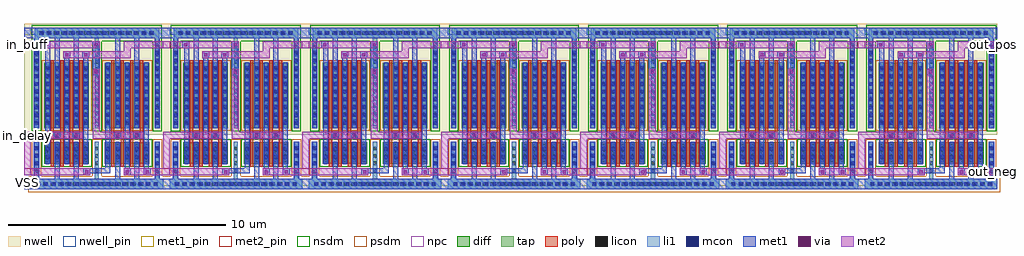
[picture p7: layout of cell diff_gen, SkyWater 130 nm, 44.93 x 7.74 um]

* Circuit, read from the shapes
.subckt diff_gen VDD VSS in_buff in_delay out_neg out_pos
XM1 VSS in_delay in_buff VSS sky130_fd_pr__nfet_01v8 w=1 l=0.15
XM2 delay_unit_2_5/in_1 in_delay VSS VSS sky130_fd_pr__nfet_01v8 w=1 l=0.15 m=3
XM3 VSS in_buff in_delay VSS sky130_fd_pr__nfet_01v8 w=1 l=0.15
XM4 delay_unit_2_5/in_2 in_buff VSS VSS sky130_fd_pr__nfet_01v8 w=1 l=0.15 m=3
XM5 VSS delay_unit_2_5/in_2 delay_unit_2_5/in_1 VSS sky130_fd_pr__nfet_01v8 w=1 l=0.15
XM6 delay_unit_2_4/in_1 delay_unit_2_5/in_2 VSS VSS sky130_fd_pr__nfet_01v8 w=1 l=0.15 m=3
XM7 VSS delay_unit_2_5/in_1 delay_unit_2_5/in_2 VSS sky130_fd_pr__nfet_01v8 w=1 l=0.15
XM8 delay_unit_2_4/in_2 delay_unit_2_5/in_1 VSS VSS sky130_fd_pr__nfet_01v8 w=1 l=0.15 m=3
XM9 VSS delay_unit_2_4/in_2 delay_unit_2_4/in_1 VSS sky130_fd_pr__nfet_01v8 w=1 l=0.15
XM10 delay_unit_2_3/in_1 delay_unit_2_4/in_2 VSS VSS sky130_fd_pr__nfet_01v8 w=1 l=0.15 m=3
XM11 VSS delay_unit_2_4/in_1 delay_unit_2_4/in_2 VSS sky130_fd_pr__nfet_01v8 w=1 l=0.15
XM12 delay_unit_2_3/in_2 delay_unit_2_4/in_1 VSS VSS sky130_fd_pr__nfet_01v8 w=1 l=0.15 m=3
XM13 VSS delay_unit_2_3/in_2 delay_unit_2_3/in_1 VSS sky130_fd_pr__nfet_01v8 w=1 l=0.15
XM14 delay_unit_2_2/in_1 delay_unit_2_3/in_2 VSS VSS sky130_fd_pr__nfet_01v8 w=1 l=0.15 m=3
XM15 VSS delay_unit_2_3/in_1 delay_unit_2_3/in_2 VSS sky130_fd_pr__nfet_01v8 w=1 l=0.15
XM16 delay_unit_2_2/in_2 delay_unit_2_3/in_1 VSS VSS sky130_fd_pr__nfet_01v8 w=1 l=0.15 m=3
XM17 VSS delay_unit_2_2/in_2 delay_unit_2_2/in_1 VSS sky130_fd_pr__nfet_01v8 w=1 l=0.15
XM18 delay_unit_2_1/in_1 delay_unit_2_2/in_2 VSS VSS sky130_fd_pr__nfet_01v8 w=1 l=0.15 m=3
XM19 VSS delay_unit_2_2/in_1 delay_unit_2_2/in_2 VSS sky130_fd_pr__nfet_01v8 w=1 l=0.15
XM20 delay_unit_2_1/in_2 delay_unit_2_2/in_1 VSS VSS sky130_fd_pr__nfet_01v8 w=1 l=0.15 m=3
XM21 VSS delay_unit_2_1/in_2 delay_unit_2_1/in_1 VSS sky130_fd_pr__nfet_01v8 w=1 l=0.15
XM22 delay_unit_2_0/in_1 delay_unit_2_1/in_2 VSS VSS sky130_fd_pr__nfet_01v8 w=1 l=0.15 m=3
XM23 VSS delay_unit_2_1/in_1 delay_unit_2_1/in_2 VSS sky130_fd_pr__nfet_01v8 w=1 l=0.15
XM24 delay_unit_2_0/in_2 delay_unit_2_1/in_1 VSS VSS sky130_fd_pr__nfet_01v8 w=1 l=0.15 m=3
XM25 VSS delay_unit_2_0/in_2 delay_unit_2_0/in_1 VSS sky130_fd_pr__nfet_01v8 w=1 l=0.15
XM26 out_pos delay_unit_2_0/in_2 VSS VSS sky130_fd_pr__nfet_01v8 w=1 l=0.15 m=3
XM27 VSS delay_unit_2_0/in_1 delay_unit_2_0/in_2 VSS sky130_fd_pr__nfet_01v8 w=1 l=0.15
XM28 out_neg delay_unit_2_0/in_1 VSS VSS sky130_fd_pr__nfet_01v8 w=1 l=0.15 m=3
XM29 VDD in_delay in_buff VDD sky130_fd_pr__pfet_01v8 w=3 l=0.15
XM30 delay_unit_2_5/in_1 in_delay VDD VDD sky130_fd_pr__pfet_01v8 w=3 l=0.15 m=3
XM31 VDD in_buff in_delay VDD sky130_fd_pr__pfet_01v8 w=3 l=0.15
XM32 delay_unit_2_5/in_2 in_buff VDD VDD sky130_fd_pr__pfet_01v8 w=3 l=0.15 m=3
XM33 VDD delay_unit_2_5/in_2 delay_unit_2_5/in_1 VDD sky130_fd_pr__pfet_01v8 w=3 l=0.15
XM34 delay_unit_2_4/in_1 delay_unit_2_5/in_2 VDD VDD sky130_fd_pr__pfet_01v8 w=3 l=0.15 m=3
XM35 VDD delay_unit_2_5/in_1 delay_unit_2_5/in_2 VDD sky130_fd_pr__pfet_01v8 w=3 l=0.15
XM36 delay_unit_2_4/in_2 delay_unit_2_5/in_1 VDD VDD sky130_fd_pr__pfet_01v8 w=3 l=0.15 m=3
XM37 VDD delay_unit_2_4/in_2 delay_unit_2_4/in_1 VDD sky130_fd_pr__pfet_01v8 w=3 l=0.15
XM38 delay_unit_2_3/in_1 delay_unit_2_4/in_2 VDD VDD sky130_fd_pr__pfet_01v8 w=3 l=0.15 m=3
XM39 VDD delay_unit_2_4/in_1 delay_unit_2_4/in_2 VDD sky130_fd_pr__pfet_01v8 w=3 l=0.15
XM40 delay_unit_2_3/in_2 delay_unit_2_4/in_1 VDD VDD sky130_fd_pr__pfet_01v8 w=3 l=0.15 m=3
XM41 VDD delay_unit_2_3/in_2 delay_unit_2_3/in_1 VDD sky130_fd_pr__pfet_01v8 w=3 l=0.15
XM42 delay_unit_2_2/in_1 delay_unit_2_3/in_2 VDD VDD sky130_fd_pr__pfet_01v8 w=3 l=0.15 m=3
XM43 VDD delay_unit_2_3/in_1 delay_unit_2_3/in_2 VDD sky130_fd_pr__pfet_01v8 w=3 l=0.15
XM44 delay_unit_2_2/in_2 delay_unit_2_3/in_1 VDD VDD sky130_fd_pr__pfet_01v8 w=3 l=0.15 m=3
XM45 VDD delay_unit_2_2/in_2 delay_unit_2_2/in_1 VDD sky130_fd_pr__pfet_01v8 w=3 l=0.15
XM46 delay_unit_2_1/in_1 delay_unit_2_2/in_2 VDD VDD sky130_fd_pr__pfet_01v8 w=3 l=0.15 m=3
XM47 VDD delay_unit_2_2/in_1 delay_unit_2_2/in_2 VDD sky130_fd_pr__pfet_01v8 w=3 l=0.15
XM48 delay_unit_2_1/in_2 delay_unit_2_2/in_1 VDD VDD sky130_fd_pr__pfet_01v8 w=3 l=0.15 m=3
XM49 VDD delay_unit_2_1/in_2 delay_unit_2_1/in_1 VDD sky130_fd_pr__pfet_01v8 w=3 l=0.15
XM50 delay_unit_2_0/in_1 delay_unit_2_1/in_2 VDD VDD sky130_fd_pr__pfet_01v8 w=3 l=0.15 m=3
XM51 VDD delay_unit_2_1/in_1 delay_unit_2_1/in_2 VDD sky130_fd_pr__pfet_01v8 w=3 l=0.15
XM52 delay_unit_2_0/in_2 delay_unit_2_1/in_1 VDD VDD sky130_fd_pr__pfet_01v8 w=3 l=0.15 m=3
XM53 VDD delay_unit_2_0/in_2 delay_unit_2_0/in_1 VDD sky130_fd_pr__pfet_01v8 w=3 l=0.15
XM54 out_pos delay_unit_2_0/in_2 VDD VDD sky130_fd_pr__pfet_01v8 w=3 l=0.15 m=3
XM55 VDD delay_unit_2_0/in_1 delay_unit_2_0/in_2 VDD sky130_fd_pr__pfet_01v8 w=3 l=0.15
XM56 out_neg delay_unit_2_0/in_1 VDD VDD sky130_fd_pr__pfet_01v8 w=3 l=0.15 m=3
.ends

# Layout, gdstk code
import gdstk
lib = gdstk.Library(unit=1e-6, precision=1e-09)
def R(c, l, rs):  # rectangles x0, y0, x1, y1
    for r in rs: c.add(gdstk.rectangle(r[:2], r[2:], *l))
def A(c, l, x, y, w, h, nx, ny, dx, dy):  # array of equal rectangles
    R(c, l, [(x+i*dx, y+j*dy, x+i*dx+w, y+j*dy+h) for i in range(nx) for j in range(ny)])
nwell_pin = (64, 16)
nwell = (64, 20)
diff = (65, 20)
tap = (65, 44)
poly = (66, 20)
licon = (66, 44)
li1 = (67, 20)
mcon = (67, 44)
met1_pin = (68, 16)
met1 = (68, 20)
via = (68, 44)
met2_pin = (69, 16)
met2 = (69, 20)
nsdm = (93, 44)
psdm = (94, 20)
npc = (95, 20)

sky130_fd_pr__pfet_01v8_ = lib.new_cell('sky130_fd_pr__pfet_01v8_2K9SAN')
R(sky130_fd_pr__pfet_01v8_, nwell, [(-0.545,-1.81,0.545,1.81)])
R(sky130_fd_pr__pfet_01v8_, diff, [(-0.365,-1.5,0.365,1.5)])
R(sky130_fd_pr__pfet_01v8_, poly, [(-0.075,-1.63,0.075,1.63)])
A(sky130_fd_pr__pfet_01v8_, licon, -0.305, -1.275, 0.17, 0.17, 1, 8, 0, 0.34)
A(sky130_fd_pr__pfet_01v8_, licon, 0.135, -1.275, 0.17, 0.17, 1, 8, 0, 0.34)
R(sky130_fd_pr__pfet_01v8_, li1, [(-0.305,-1.52,-0.135,1.52), (0.135,-1.52,0.305,1.52)])
A(sky130_fd_pr__pfet_01v8_, mcon, -0.305, -1.345, 0.17, 0.17, 1, 8, 0, 0.36)
A(sky130_fd_pr__pfet_01v8_, mcon, 0.135, -1.345, 0.17, 0.17, 1, 8, 0, 0.36)
R(sky130_fd_pr__pfet_01v8_, met1, [(-0.335,-1.5,-0.105,1.5), (0.105,-1.5,0.335,1.5)])
R(sky130_fd_pr__pfet_01v8_, psdm, [(-0.49,-1.625,0.49,1.625)])

sky130_fd_pr__nfet_01v8_ = lib.new_cell('sky130_fd_pr__nfet_01v8_6H9P4D')
R(sky130_fd_pr__nfet_01v8_, diff, [(-0.365,-0.5,0.365,0.5)])
R(sky130_fd_pr__nfet_01v8_, poly, [(-0.075,-0.63,0.075,0.63)])
A(sky130_fd_pr__nfet_01v8_, licon, -0.305, -0.425, 0.17, 0.17, 1, 3, 0, 0.34)
A(sky130_fd_pr__nfet_01v8_, licon, 0.135, -0.425, 0.17, 0.17, 1, 3, 0, 0.34)
R(sky130_fd_pr__nfet_01v8_, li1, [(-0.305,-0.52,-0.135,0.52), (0.135,-0.52,0.305,0.52)])
R(sky130_fd_pr__nfet_01v8_, mcon, [(-0.305,-0.265,-0.135,-0.095), (0.135,-0.265,0.305,-0.095), (-0.305,0.095,-0.135,0.265), (0.135,0.095,0.305,0.265)])
R(sky130_fd_pr__nfet_01v8_, met1, [(-0.335,-0.5,-0.105,0.5), (0.105,-0.5,0.335,0.5)])
R(sky130_fd_pr__nfet_01v8_, nsdm, [(-0.49,-0.625,0.49,0.625)])

delay_unit_2 = lib.new_cell('delay_unit_2')
R(delay_unit_2, nwell_pin, [(-1.91,6.4,-1.59,6.72)])
R(delay_unit_2, nwell, [(-2.22,1.8,-1.46,5.42), (-0.99,1.8,-0.4,1.98), (-0.11,1.8,0.48,1.98), (0.95,1.8,1.34,1.94), (1.42,1.8,1.89,5.32), (1.92,1.8,2.29,1.98), (3.59,1.8,4.18,5.42), (0.94,1.94,1.34,4.85), (0.95,4.85,1.34,5.4), (1.35,5.32,1.89,5.4), (2.37,5.32,2.69,5.42), (0.95,5.4,1.89,5.42), (-2.22,5.42,4.18,6.9)])
A(delay_unit_2, tap, -1.74, -0.23, 0.19, 1.71, 3, 1, 2.78, 0)
R(delay_unit_2, tap, [(-1.91,-0.71,4.18,-0.23), (-1.73,2.09,-1.55,6.24), (1.04,2.09,1.23,6.24), (3.82,2.09,4,6.24), (-1.73,6.24,4,6.72)])
A(delay_unit_2, poly, -0.99, 1.59, 0.15, 0.04, 4, 1, 0.44, 0)
A(delay_unit_2, poly, 1.79, 1.59, 0.15, 0.04, 4, 1, 0.44, 0)
A(delay_unit_2, poly, -0.99, 1.93, 0.15, 0.05, 4, 1, 0.44, 0)
A(delay_unit_2, poly, 1.79, 1.93, 0.15, 0.05, 4, 1, 0.44, 0)
R(delay_unit_2, poly, [(-0.99,1.63,-0.4,1.93), (-0.11,1.63,0.48,1.93), (1.79,1.63,2.38,1.93), (2.67,1.63,3.26,1.93)])
A(delay_unit_2, licon, -1.67, -0.555, 0.17, 0.17, 17, 1, 0.34, 0)
A(delay_unit_2, licon, -1.73, 0.06, 0.17, 0.17, 3, 4, 2.78, 0.34)
A(delay_unit_2, licon, -1.725, 2.355, 0.17, 0.17, 3, 11, 2.775, 0.34)
A(delay_unit_2, licon, -1.52, 6.395, 0.17, 0.17, 16, 1, 0.34, 0)
R(delay_unit_2, licon, [(-0.785,1.695,-0.615,1.865), (0.095,1.695,0.265,1.865), (1.995,1.695,2.165,1.865), (2.885,1.695,3.055,1.865)])
A(delay_unit_2, li1, -1.74, -0.23, 0.19, 1.71, 3, 1, 2.78, 0)
R(delay_unit_2, li1, [(-1.91,-0.71,4.18,-0.23), (-0.87,1.69,-0.53,1.87), (0.01,1.69,0.35,1.87), (1.91,1.69,2.25,1.87), (2.8,1.69,3.14,1.87), (-1.73,2.09,-1.55,6.24), (1.04,2.09,1.23,6.24), (3.82,2.09,4,6.24), (-1.73,6.24,4,6.72)])
A(delay_unit_2, mcon, -1.65, -0.555, 0.17, 0.17, 16, 1, 0.36, 0)
A(delay_unit_2, mcon, -1.73, 0.03, 0.17, 0.17, 1, 4, 0, 0.36)
A(delay_unit_2, mcon, 3.83, 0.03, 0.17, 0.17, 1, 4, 0, 0.36)
A(delay_unit_2, mcon, -1.725, 2.255, 0.17, 0.17, 1, 11, 0, 0.36)
A(delay_unit_2, mcon, 3.825, 2.255, 0.17, 0.17, 1, 11, 0, 0.36)
A(delay_unit_2, mcon, -1.49, 6.395, 0.17, 0.17, 15, 1, 0.36, 0)
R(delay_unit_2, mcon, [(-0.785,1.695,-0.615,1.865), (0.095,1.695,0.265,1.865), (1.995,1.695,2.165,1.865), (2.885,1.695,3.055,1.865)])
R(delay_unit_2, met1_pin, [(-2.21,-0.55,-1.89,-0.23)])
A(delay_unit_2, met1, 1.53, 0.25, 0.23, 0.21, 3, 1, 0.88, 0)
A(delay_unit_2, met1, -1.25, 1.46, 0.23, 0.65, 3, 1, 0.88, 0)
A(delay_unit_2, met1, 1.53, 1.46, 0.23, 0.65, 3, 1, 0.88, 0)
R(delay_unit_2, met1, [(-2.22,-0.71,4.18,-0.23), (-1.77,-0.23,-1.52,1.48), (-0.81,-0.23,-0.58,0.47), (0.07,-0.23,0.3,0.46), (1.97,-0.23,2.2,0.46), (2.85,-0.23,3.08,0.46), (3.79,-0.23,4.04,1.48), (0.51,-0.07,0.83,0.02), (2.37,-0.07,2.69,0.25), (3.29,-0.07,3.61,0.25), (0.51,0.02,1.76,0.25), (0.51,0.44,0.74,0.46), (-0.86,1.63,-0.54,1.93), (0.02,1.63,0.34,1.93), (1.92,1.63,2.24,1.93), (2.81,1.63,3.13,1.93), (-1.76,2.09,-1.52,6.24), (3.79,2.09,4.03,6.24), (1.04,2.21,1.23,4.53), (0.94,4.53,1.26,6.1), (-1.25,5.11,-1.02,5.78), (-0.81,5.11,-0.58,6.24), (-0.37,5.11,-0.14,5.32), (0.07,5.11,0.3,6.24), (0.51,5.11,0.74,5.32), (1.97,5.11,2.2,6.24), (2.85,5.11,3.08,6.24), (-0.41,5.32,-0.09,5.64), (0.46,5.32,0.78,5.64), (-1.34,5.78,-1.02,6.1), (-2.22,6.24,4.18,6.72)])
R(delay_unit_2, via, [(0.595,0.015,0.745,0.165), (2.455,0.015,2.605,0.165), (3.375,0.015,3.525,0.165), (-0.775,1.705,-0.625,1.855), (0.105,1.705,0.255,1.855), (2.005,1.705,2.155,1.855), (2.895,1.705,3.045,1.855), (1.025,4.615,1.175,4.765), (-0.325,5.405,-0.175,5.555), (0.545,5.405,0.695,5.555), (-1.255,5.865,-1.105,6.015), (1.025,5.865,1.175,6.015)])
R(delay_unit_2, met2_pin, [(-2.22,-0.07,-1.9,0.25), (3.86,-0.07,4.18,0.25), (-1.91,5.78,-1.59,6.1), (3.86,5.78,4.18,6.1)])
R(delay_unit_2, met2, [(-2.22,-0.07,0.83,0.25), (2.37,-0.07,4.18,0.25), (-2.22,0.25,-1.9,1.62), (-2.22,1.62,0.48,1.94), (0.94,1.62,3.27,1.94), (0.94,1.94,1.26,4.85), (-0.41,5.32,2.69,5.64), (2.37,5.64,2.69,5.78), (-2.22,5.78,1.26,6.1), (2.37,5.78,4.18,6.1)])
R(delay_unit_2, nsdm, [(-1.855,1.965,-1.425,6.115), (0.915,1.965,1.355,6.115), (3.695,1.965,4.125,6.115), (-1.855,6.115,4.125,6.845)])
A(delay_unit_2, psdm, -1.865, -0.105, 0.44, 1.71, 3, 1, 2.78, 0)
R(delay_unit_2, psdm, [(-2.035,-0.835,4.305,-0.105)])
R(delay_unit_2, npc, [(-0.885,1.595,-0.515,1.965), (-0.005,1.595,0.365,1.965), (1.895,1.595,2.265,1.965), (2.785,1.595,3.155,1.965)])
delay_unit_2.add(gdstk.Reference(sky130_fd_pr__pfet_01v8_, (2.745,3.61)))
delay_unit_2.add(gdstk.Reference(sky130_fd_pr__pfet_01v8_, (3.185,3.61)))
delay_unit_2.add(gdstk.Reference(sky130_fd_pr__pfet_01v8_, (1.865,3.61)))
delay_unit_2.add(gdstk.Reference(sky130_fd_pr__pfet_01v8_, (2.305,3.61)))
delay_unit_2.add(gdstk.Reference(sky130_fd_pr__pfet_01v8_, (-0.915,3.61)))
delay_unit_2.add(gdstk.Reference(sky130_fd_pr__pfet_01v8_, (-0.475,3.61)))
delay_unit_2.add(gdstk.Reference(sky130_fd_pr__pfet_01v8_, (-0.035,3.61)))
delay_unit_2.add(gdstk.Reference(sky130_fd_pr__pfet_01v8_, (0.405,3.61)))
delay_unit_2.add(gdstk.Reference(sky130_fd_pr__nfet_01v8_, (3.185,0.96)))
delay_unit_2.add(gdstk.Reference(sky130_fd_pr__nfet_01v8_, (2.745,0.96)))
delay_unit_2.add(gdstk.Reference(sky130_fd_pr__nfet_01v8_, (2.305,0.96)))
delay_unit_2.add(gdstk.Reference(sky130_fd_pr__nfet_01v8_, (1.865,0.96)))
delay_unit_2.add(gdstk.Reference(sky130_fd_pr__nfet_01v8_, (-0.915,0.96)))
delay_unit_2.add(gdstk.Reference(sky130_fd_pr__nfet_01v8_, (-0.475,0.96)))
delay_unit_2.add(gdstk.Reference(sky130_fd_pr__nfet_01v8_, (-0.035,0.96)))
delay_unit_2.add(gdstk.Reference(sky130_fd_pr__nfet_01v8_, (0.405,0.96)))
delay_unit_2.add(gdstk.Label('in_1', (-1.75,5.94), layer=69, texttype=5))
delay_unit_2.add(gdstk.Label('in_2', (-2.06,0.09), layer=69, texttype=5))
delay_unit_2.add(gdstk.Label('out_1', (4.02,5.94), layer=69, texttype=5))
delay_unit_2.add(gdstk.Label('out_2', (4.02,0.09), layer=69, texttype=5))
delay_unit_2.add(gdstk.Label('VDD', (-1.75,6.56), layer=64, texttype=5))
delay_unit_2.add(gdstk.Label('VSS', (-2.05,-0.39), layer=68, texttype=5))

diff_gen = lib.new_cell('diff_gen')
R(diff_gen, met1_pin, [(0,0.16,0.32,0.48), (0,7.11,0.32,7.43)])
R(diff_gen, met1, [(0,0.16,0.32,0.48), (0,7.11,0.32,7.43)])
R(diff_gen, met2_pin, [(44.48,0.64,44.8,0.96), (0,2.33,0.32,2.65), (0,6.49,0.32,6.81), (44.48,6.49,44.8,6.81)])
R(diff_gen, met2, [(44.48,0.64,44.8,0.96), (0,2.33,0.32,2.65), (0,6.49,0.32,6.81), (44.48,6.49,44.8,6.81)])
A(diff_gen, psdm, 6.525, -0.125, 0.06, 0.73, 6, 1, 6.4, 0)
diff_gen.add(gdstk.Reference(delay_unit_2, (40.62,0.71)))
diff_gen.add(gdstk.Reference(delay_unit_2, (34.22,0.71)))
diff_gen.add(gdstk.Reference(delay_unit_2, (27.82,0.71)))
diff_gen.add(gdstk.Reference(delay_unit_2, (21.42,0.71)))
diff_gen.add(gdstk.Reference(delay_unit_2, (15.02,0.71)))
diff_gen.add(gdstk.Reference(delay_unit_2, (8.62,0.71)))
diff_gen.add(gdstk.Reference(delay_unit_2, (2.22,0.71)))
diff_gen.add(gdstk.Label('in_delay', (0.16,2.49), layer=69, texttype=5))
diff_gen.add(gdstk.Label('in_buff', (0.16,6.65), layer=69, texttype=5))
diff_gen.add(gdstk.Label('out_pos', (44.64,6.65), layer=69, texttype=5))
diff_gen.add(gdstk.Label('out_neg', (44.64,0.8), layer=69, texttype=5))
diff_gen.add(gdstk.Label('VDD', (0.16,7.27), layer=68, texttype=5))
diff_gen.add(gdstk.Label('VSS', (0.16,0.32), layer=68, texttype=5))

lib.write_gds('diff_gen.gds')
